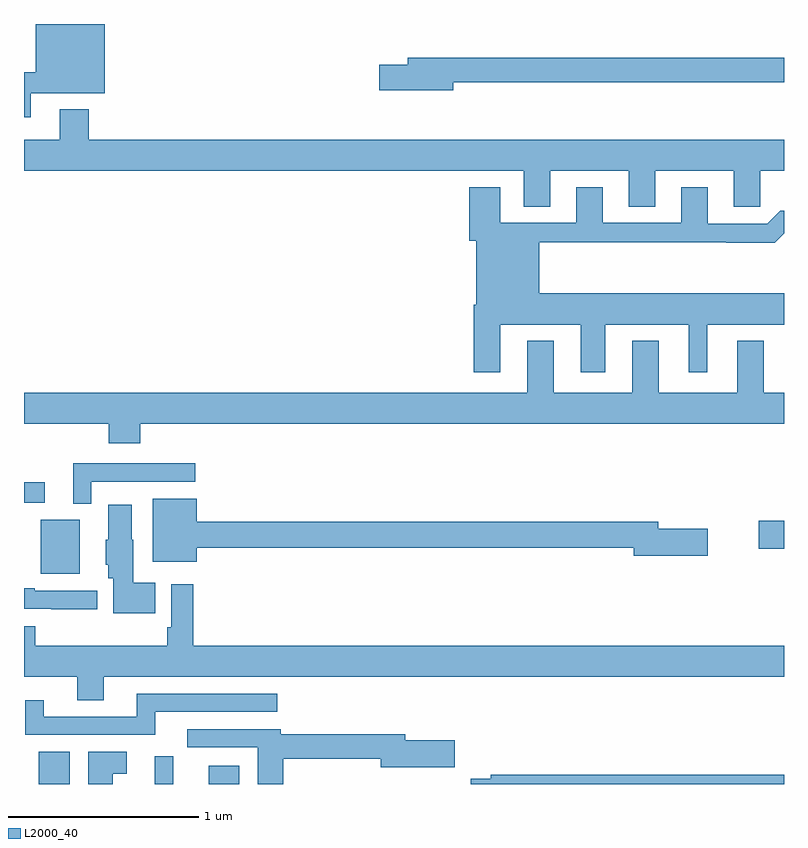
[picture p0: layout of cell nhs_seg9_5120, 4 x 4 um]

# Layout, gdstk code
import gdstk
lib = gdstk.Library(unit=1e-6, precision=1e-09)
def R(c, l, rs):  # rectangles x0, y0, x1, y1
    for r in rs: c.add(gdstk.rectangle(r[:2], r[2:], *l))
def P(c, l, *ps):  # polygons
    for p in ps: c.add(gdstk.Polygon(p, *l))
L2000_40 = (2000, 40)

nhs_seg9_5120 = lib.new_cell('nhs_seg9_5120')
R(nhs_seg9_5120, L2000_40, [(407.078,1218.5,407.242,1218.67), (407.687,1218.5,407.786,1218.646), (407.972,1218.5,408.133,1218.595), (407.087,1219.607,407.293,1219.891), (410.868,1219.739,411,1219.886), (407,1219.98,407.11,1220.089)])
P(nhs_seg9_5120, L2000_40, [(407.035,1222.136),(407.425,1222.136),(407.425,1222.5),(407.063,1222.5),(407.063,1222.246),(407,1222.246),(407,1222.008),(407.035,1222.008)],
  [(409.258,1222.194),(411,1222.194),(411,1222.322),(409.019,1222.322),(409.019,1222.286),(408.87,1222.286),(408.87,1222.151),(409.258,1222.151)],
  [(409.771,1221.728),(410.183,1221.728),(410.183,1221.538),(410.323,1221.538),(410.323,1221.728),(410.735,1221.728),(410.735,1221.538),(410.874,1221.538),(410.874,1221.728),(411,1221.728),(411,1221.892),(407.342,1221.892),(407.342,1222.051),(407.189,1222.051),(407.189,1221.892),(407,1221.892),(407,1221.728),(409.631,1221.728),(409.631,1221.538),(409.771,1221.538)],
  [(409.507,1220.918),(409.931,1220.918),(409.931,1220.667),(410.059,1220.667),(410.059,1220.918),(410.498,1220.918),(410.498,1220.667),(410.596,1220.667),(410.596,1220.918),(411,1220.918),(411,1221.082),(409.711,1221.082),(409.711,1221.352),(410.695,1221.352),(410.695,1221.35),(410.951,1221.35),(411,1221.399),(411,1221.517),(410.98,1221.517),(410.913,1221.45),(410.599,1221.45),(410.599,1221.64),(410.459,1221.64),(410.459,1221.453),(410.047,1221.453),(410.047,1221.64),(409.907,1221.64),(409.907,1221.453),(409.507,1221.453),(409.507,1221.64),(409.343,1221.64),(409.343,1221.36),(409.379,1221.36),(409.379,1221.022),(409.367,1221.022),(409.367,1220.667),(409.507,1220.667)],
  [(407.612,1220.396),(411,1220.396),(411,1220.56),(410.893,1220.56),(410.893,1220.833),(410.753,1220.833),(410.753,1220.56),(410.341,1220.56),(410.341,1220.833),(410.201,1220.833),(410.201,1220.56),(409.789,1220.56),(409.789,1220.833),(409.649,1220.833),(409.649,1220.56),(407,1220.56),(407,1220.396),(407.447,1220.396),(407.447,1220.294),(407.612,1220.294)],
  [(407.355,1220.091),(407.902,1220.091),(407.902,1220.187),(407.258,1220.187),(407.258,1219.976),(407.355,1219.976)],
  [(407.908,1219.744),(410.21,1219.744),(410.21,1219.702),(410.599,1219.702),(410.599,1219.844),(410.338,1219.844),(410.338,1219.88),(407.908,1219.88),(407.908,1220.002),(407.678,1220.002),(407.678,1219.67),(407.908,1219.67)],
  [(407.69,1219.558),(407.575,1219.558),(407.575,1219.785),(407.566,1219.785),(407.566,1219.969),(407.444,1219.969),(407.444,1219.785),(407.429,1219.785),(407.429,1219.653),(407.444,1219.653),(407.444,1219.584),(407.471,1219.584),(407.471,1219.4),(407.69,1219.4)],
  [(407.419,1219.064),(411,1219.064),(411,1219.228),(407.891,1219.228),(407.891,1219.552),(407.775,1219.552),(407.775,1219.324),(407.755,1219.324),(407.755,1219.228),(407.06,1219.228),(407.06,1219.33),(407,1219.33),(407,1219.064),(407.279,1219.064),(407.279,1218.94),(407.419,1218.94)],
  [(407.386,1219.518),(407.056,1219.518),(407.056,1219.531),(407,1219.531),(407,1219.422),(407.143,1219.422),(407.143,1219.421),(407.386,1219.421)],
  [(407.692,1218.879),(408.334,1218.879),(408.334,1218.975),(407.594,1218.975),(407.594,1218.855),(407.104,1218.855),(407.104,1218.94),(407.006,1218.94),(407.006,1218.759),(407.692,1218.759)],
  [(408.365,1218.634),(408.878,1218.634),(408.878,1218.587),(409.267,1218.587),(409.267,1218.729),(409.006,1218.729),(409.006,1218.763),(408.352,1218.763),(408.352,1218.789),(407.859,1218.789),(407.859,1218.693),(408.23,1218.693),(408.23,1218.5),(408.365,1218.5)],
  [(407.467,1218.554),(407.542,1218.554),(407.542,1218.67),(407.339,1218.67),(407.339,1218.5),(407.467,1218.5)],
  [(411,1218.548),(409.456,1218.548),(409.456,1218.528),(409.352,1218.528),(409.352,1218.5),(411,1218.5)])

lib.write_gds('nhs_seg9_5120.gds')
